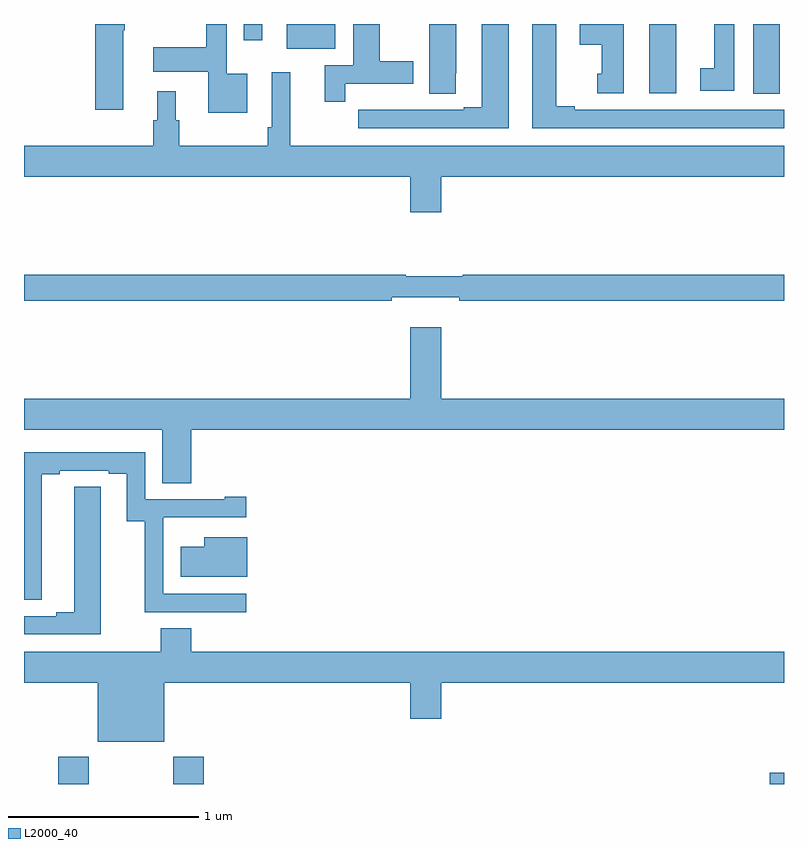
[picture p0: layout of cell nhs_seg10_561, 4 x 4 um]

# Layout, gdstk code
import gdstk
lib = gdstk.Library(unit=1e-6, precision=1e-09)
def R(c, l, rs):  # rectangles x0, y0, x1, y1
    for r in rs: c.add(gdstk.rectangle(r[:2], r[2:], *l))
def P(c, l, *ps):  # polygons
    for p in ps: c.add(gdstk.Polygon(p, *l))
L2000_40 = (2000, 40)

nhs_seg10_561 = lib.new_cell('nhs_seg10_561')
R(nhs_seg10_561, L2000_40, [(139.181,1250.5,139.341,1250.644), (139.786,1250.5,139.946,1250.644), (142.925,1250.5,143,1250.56), (142.292,1254.135,142.432,1254.5), (140.384,1254.371,140.638,1254.5), (140.157,1254.414,140.254,1254.5)])
P(nhs_seg10_561, L2000_40, [(141.55,1254.5),(141.41,1254.5),(141.41,1254.063),(141.314,1254.063),(141.314,1254.048),(141.038,1254.048),(141.038,1254.049),(140.872,1254.049),(140.872,1254.048),(140.76,1254.048),(140.76,1253.952),(141.55,1253.952)],
  [(140.176,1254.238),(140.067,1254.238),(140.067,1254.5),(139.959,1254.5),(139.959,1254.378),(139.68,1254.378),(139.68,1254.248),(139.97,1254.248),(139.97,1254.032),(140.176,1254.032)],
  [(141.273,1254.241),(141.274,1254.241),(141.274,1254.5),(141.134,1254.5),(141.134,1254.133),(141.273,1254.133)],
  [(140.69,1254.186),(141.049,1254.186),(141.049,1254.303),(140.872,1254.303),(140.872,1254.5),(140.732,1254.5),(140.732,1254.282),(140.582,1254.282),(140.582,1254.09),(140.69,1254.09)],
  [(142.156,1254.5),(141.926,1254.5),(141.926,1254.392),(142.04,1254.392),(142.04,1254.237),(142.016,1254.237),(142.016,1254.135),(142.156,1254.135)],
  [(139.522,1254.466),(139.53,1254.466),(139.53,1254.5),(139.376,1254.5),(139.376,1254.048),(139.522,1254.048)],
  [(142.977,1254.241),(142.978,1254.241),(142.978,1254.5),(142.838,1254.5),(142.838,1254.133),(142.977,1254.133)],
  [(142.738,1254.5),(142.634,1254.5),(142.634,1254.266),(142.56,1254.266),(142.56,1254.15),(142.738,1254.15)],
  [(143,1254.048),(141.898,1254.048),(141.898,1254.068),(141.802,1254.068),(141.802,1254.5),(141.674,1254.5),(141.674,1253.952),(143,1253.952)],
  [(141.196,1253.696),(143,1253.696),(143,1253.86),(140.402,1253.86),(140.402,1254.247),(140.304,1254.247),(140.304,1253.956),(140.284,1253.956),(140.284,1253.86),(139.817,1253.86),(139.817,1253.994),(139.798,1253.994),(139.798,1254.145),(139.7,1254.145),(139.7,1253.994),(139.681,1253.994),(139.681,1253.86),(139,1253.86),(139,1253.696),(141.032,1253.696),(141.032,1253.508),(141.196,1253.508)],
  [(140.936,1253.063),(141.292,1253.063),(141.292,1253.044),(143,1253.044),(143,1253.18),(141.31,1253.18),(141.31,1253.173),(141.01,1253.173),(141.01,1253.18),(139,1253.18),(139,1253.044),(140.936,1253.044)],
  [(139.88,1252.364),(143,1252.364),(143,1252.528),(141.196,1252.528),(141.196,1252.903),(141.032,1252.903),(141.032,1252.528),(139,1252.528),(139,1252.364),(139.727,1252.364),(139.727,1252.084),(139.88,1252.084)],
  [(140.17,1251.501),(139.734,1251.501),(139.734,1251.902),(139.736,1251.902),(139.736,1251.903),(140.17,1251.903),(140.17,1252.012),(140.057,1252.012),(140.057,1251.999),(139.638,1251.999),(139.638,1252.245),(139,1252.245),(139,1251.469),(139.093,1251.469),(139.093,1252.129),(139.189,1252.129),(139.189,1252.149),(139.445,1252.149),(139.445,1252.134),(139.541,1252.134),(139.541,1251.883),(139.636,1251.883),(139.636,1251.405),(140.17,1251.405)],
  [(139.405,1251.956),(139.404,1251.956),(139.404,1252.064),(139.265,1252.064),(139.265,1251.404),(139.169,1251.404),(139.169,1251.384),(139,1251.384),(139,1251.288),(139.405,1251.288)],
  [(140.176,1251.799),(139.949,1251.799),(139.949,1251.748),(139.824,1251.748),(139.824,1251.59),(140.176,1251.59)],
  [(139.738,1251.032),(141.032,1251.032),(141.032,1250.844),(141.196,1250.844),(141.196,1251.032),(143,1251.032),(143,1251.196),(139.88,1251.196),(139.88,1251.32),(139.72,1251.32),(139.72,1251.196),(139,1251.196),(139,1251.032),(139.388,1251.032),(139.388,1250.723),(139.738,1250.723)])

lib.write_gds('nhs_seg10_561.gds')
